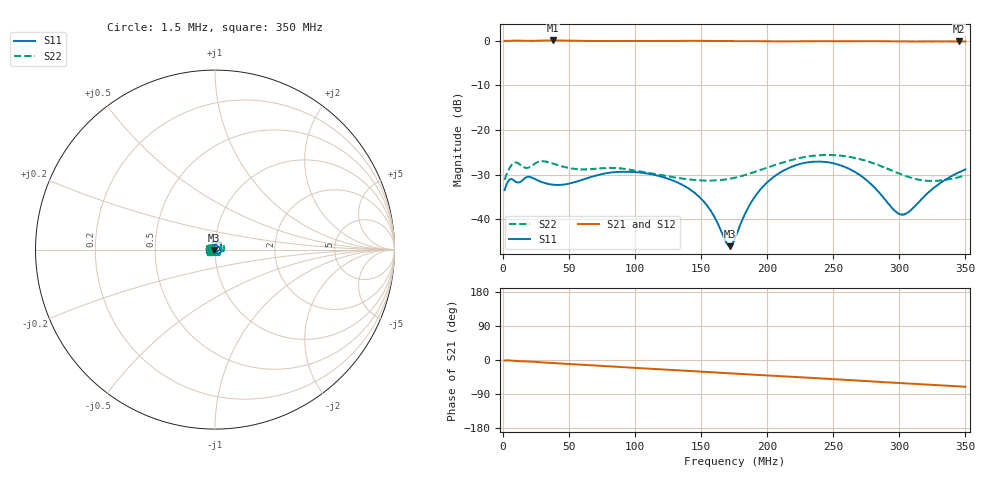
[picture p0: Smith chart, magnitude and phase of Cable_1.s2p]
# Hz S RI R 50
! RAW DATA - UNCALIBRATED
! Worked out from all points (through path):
!   1601 points, 1.5 MHz to 350 MHz, reference 50 ohm
!   highest |S21| = 0.04 dB at 37.87 MHz (marker M1); lowest = -0.2 dB at 345 MHz (marker M2)
!   group delay of S21, straight-line fit = 557 ps
!   lowest |S11| = -46.0 dB at 171.6 MHz (marker M3), VSWR 1.01, Z = 49.5 - j0.174 ohm
!   |S11| at or under -10 dB: start of sweep to end of sweep
!   |S22| runs from -31.4 to -25.6 dB; largest |S21 - S12| = 0.044
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1500000  -0.0212 0.00142  0.9919 -0.0226  0.9907 -0.0367  -0.0276 0.00229
5420625  -0.0274 0.00566  0.9943 -0.0229  0.9921 -0.0298  -0.0379 0.00256
9123438  -0.0236 0.0129  1.001 -0.0366  0.9866 -0.0374  -0.0404 0.0155
2.023188e7  -0.0131 0.027  0.9894 -0.0712  0.9895 -0.0762  -0.0242 0.0298
3.787469e7  0.0118 0.0215  0.9943 -0.1407  0.9855 -0.1307  0.00744 0.0415
5.965594e7  0.0254 0.0109  0.9701 -0.2142  0.9702 -0.2073  0.0263 0.0248
8.68825e7  0.0328 -0.00876  0.9409 -0.3061  0.9362 -0.2941  0.0373 -0.00358
1.178119e8  0.0221 -0.0213  0.9031 -0.4091  0.903 -0.389  0.0103 -0.03
1.487412e8  0.00587 -0.0169  0.8568 -0.5026  0.8649 -0.481  -0.0208 -0.0178
1.58325e8  0.000774 -0.0118  0.8382 -0.5314  0.8475 -0.5098  -0.0259 -0.00841
1.716116e8  -0.00471 -0.00176  0.8098 -0.5671  0.8207 -0.5457  -0.0276 0.00712
1.7575e8  -0.00578 0.00202  0.8007 -0.5786  0.8122 -0.5565  -0.0267 0.0121
1.868584e8  -0.00632 0.013  0.7761 -0.6091  0.7887 -0.5864  -0.0207 0.0252
1.990559e8  -0.00257 0.025  0.746 -0.6405  0.7625 -0.6163  -0.00851 0.0366
2.153919e8  0.00887 0.036  0.7101 -0.6779  0.728 -0.6549  0.0136 0.0427
2.339059e8  0.0251 0.0363  0.668 -0.7227  0.6912 -0.6998  0.0383 0.0341
2.648353e8  0.0332 0.0111  0.5854 -0.7908  0.6121 -0.7704  0.049 -0.00553
2.920619e8  0.0119 -0.00879  0.5037 -0.8444  0.5345 -0.8237  0.0222 -0.0288
3.049128e8  -0.0015 -0.0115  0.4644 -0.8621  0.4987 -0.8436  0.00641 -0.0299
3.236447e8  -0.0187 -0.00961  0.4094 -0.8904  0.4465 -0.8728  -0.0122 -0.0241
3.449903e8  -0.0333 -0.00397  0.3416 -0.9168  0.3813 -0.9036  -0.0255 -0.0151
3.5e8  -0.0362 -0.0024  0.3243 -0.9236  0.3654 -0.9092  -0.0279 -0.0133
